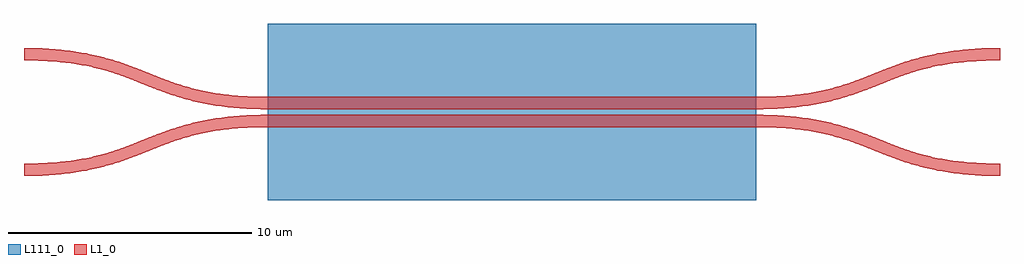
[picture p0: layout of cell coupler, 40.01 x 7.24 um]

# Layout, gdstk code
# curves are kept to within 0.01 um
import gdstk
lib = gdstk.Library(unit=1e-6, precision=1e-09)
def R(c, l, rs):  # rectangles x0, y0, x1, y1
    for r in rs: c.add(gdstk.rectangle(r[:2], r[2:], *l))
def P(c, l, *ps):  # polygons
    for p in ps: c.add(gdstk.Polygon(p, *l))
L1_0 = (1, 0)
L111_0 = (111, 0)

coupler = lib.new_cell('coupler')
R(coupler, L1_0, [(0,-0.618,20.007,-0.118), (0,0.118,20.007,0.618)])
P(coupler, L1_0, [(0,0.618),(-0.851,0.639),(-1.603,0.699),(-2.269,0.792),(-2.864,0.912),(-3.402,1.055),(-3.98,1.244),(-5.609,1.875),(-6.105,2.05),(-6.639,2.213),(-7.326,2.377),(-7.87,2.473),(-8.593,2.559),(-9.262,2.603),(-10,2.618),(-10,2.118),(-9.149,2.097),(-8.397,2.037),(-7.731,1.944),(-7.136,1.824),(-6.598,1.681),(-6.02,1.492),(-4.391,0.861),(-3.895,0.686),(-3.361,0.523),(-2.674,0.359),(-2.13,0.263),(-1.407,0.177),(-0.738,0.133),(0,0.118)],
  [(0,-0.618),(-0.851,-0.639),(-1.603,-0.699),(-2.269,-0.792),(-2.864,-0.912),(-3.402,-1.055),(-3.98,-1.244),(-5.609,-1.875),(-6.105,-2.05),(-6.639,-2.213),(-7.326,-2.377),(-7.87,-2.473),(-8.593,-2.559),(-9.262,-2.603),(-10,-2.618),(-10,-2.118),(-9.149,-2.097),(-8.397,-2.037),(-7.731,-1.944),(-7.136,-1.824),(-6.598,-1.681),(-6.02,-1.492),(-4.391,-0.861),(-3.895,-0.686),(-3.361,-0.523),(-2.674,-0.359),(-2.13,-0.263),(-1.407,-0.177),(-0.738,-0.133),(0,-0.118)],
  [(20.007,0.618),(20.858,0.639),(21.61,0.699),(22.276,0.792),(22.871,0.912),(23.409,1.055),(23.987,1.244),(25.616,1.875),(26.112,2.05),(26.646,2.213),(27.333,2.377),(27.877,2.473),(28.6,2.559),(29.269,2.603),(30.007,2.618),(30.007,2.118),(29.156,2.097),(28.404,2.037),(27.738,1.944),(27.143,1.824),(26.605,1.681),(26.027,1.492),(24.398,0.861),(23.902,0.686),(23.368,0.523),(22.681,0.359),(22.137,0.263),(21.414,0.177),(20.745,0.133),(20.007,0.118)],
  [(20.007,-0.618),(20.858,-0.639),(21.61,-0.699),(22.276,-0.792),(22.871,-0.912),(23.409,-1.055),(23.987,-1.244),(25.616,-1.875),(26.112,-2.05),(26.646,-2.213),(27.333,-2.377),(27.877,-2.473),(28.6,-2.559),(29.269,-2.603),(30.007,-2.618),(30.007,-2.118),(29.156,-2.097),(28.404,-2.037),(27.738,-1.944),(27.143,-1.824),(26.605,-1.681),(26.027,-1.492),(24.398,-0.861),(23.902,-0.686),(23.368,-0.523),(22.681,-0.359),(22.137,-0.263),(21.414,-0.177),(20.745,-0.133),(20.007,-0.118)])
R(coupler, L111_0, [(0,-3.618,20.007,3.618)])

lib.write_gds('coupler.gds')
